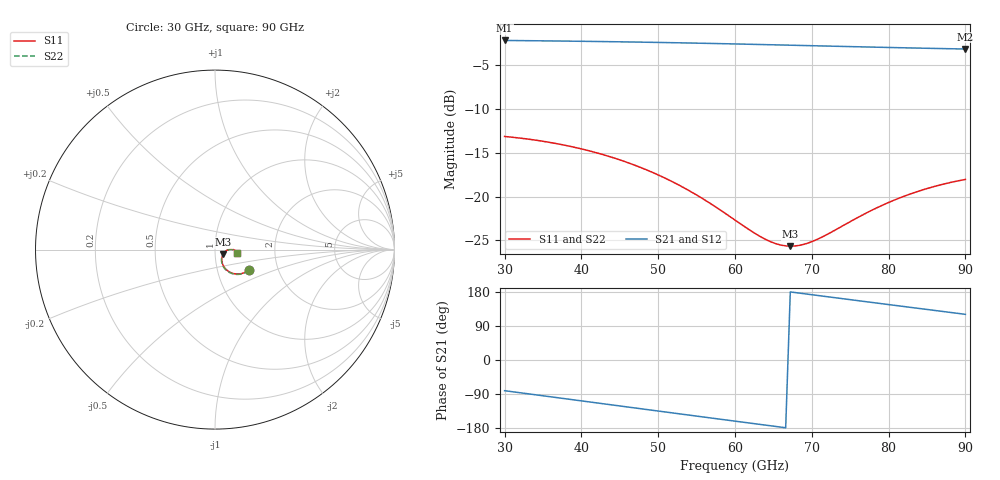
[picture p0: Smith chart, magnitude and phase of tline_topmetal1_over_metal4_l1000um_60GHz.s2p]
#  GHZ S DB R 50
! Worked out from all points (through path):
!   101 points, 30 GHz to 90 GHz, reference 50 ohm
!   highest |S21| = -2.24 dB at 30 GHz (marker M1); lowest = -3.2 dB at 90 GHz (marker M2)
!   group delay of S21, straight-line fit = 7.35 ps
!   lowest |S11| = -25.6 dB at 67.2 GHz (marker M3), VSWR 1.11, Z = 54.7 - j2.8 ohm
!   |S11| at or under -10 dB: start of sweep to end of sweep
!   |S22| runs from -25.8 to -13.1 dB; largest |S21 - S12| = 8.9e-14
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30  -13.17 -31.0  -2.24 -81.0  -2.24 -81.0  -13.14 -31.4
32.4  -13.39 -34.8  -2.26 -87.4  -2.26 -87.4  -13.36 -35.2
34.8  -13.69 -38.6  -2.29 -93.9  -2.29 -93.9  -13.64 -39.1
37.2  -14.05 -42.4  -2.31 -100.3  -2.31 -100.3  -14.01 -42.9
40.2  -14.62 -47.1  -2.34 -108.4  -2.34 -108.4  -14.57 -47.7
42.6  -15.18 -50.7  -2.37 -114.8  -2.37 -114.8  -15.12 -51.3
45  -15.83 -54.1  -2.40 -121.3  -2.40 -121.3  -15.76 -54.8
47.4  -16.59 -57.1  -2.43 -127.7  -2.43 -127.7  -16.52 -58.0
50.4  -17.70 -60.3  -2.47 -135.7  -2.47 -135.7  -17.63 -61.3
55.2  -19.93 -62.7  -2.55 -148.6  -2.55 -148.6  -19.85 -64.0
57.6  -21.25 -61.8  -2.60 -155.0  -2.60 -155.0  -21.18 -63.3
60  -22.68 -58.6  -2.64 -161.3  -2.64 -161.3  -22.63 -60.4
62.4  -24.08 -52.2  -2.69 -167.7  -2.69 -167.7  -24.07 -54.3
64.2  -24.97 -44.9  -2.72 -172.5  -2.72 -172.5  -25.01 -47.1
66  -25.53 -35.8  -2.76 -177.2  -2.76 -177.2  -25.62 -38.0
67.2  -25.65 -29.2  -2.78 179.6  -2.78 179.6  -25.78 -31.2
68.4  -25.55 -22.8  -2.81 176.5  -2.81 176.5  -25.71 -24.6
70.2  -25.07 -14.2  -2.84 171.8  -2.84 171.8  -25.23 -15.6
75  -22.86 -1.1  -2.94 159.3  -2.94 159.3  -22.97 -2.0
80.4  -20.53 1.0  -3.05 145.2  -3.05 145.2  -20.58 0.2
85.2  -19.04 -2.4  -3.14 132.9  -3.14 132.9  -19.05 -3.3
90  -18.06 -8.0  -3.22 120.5  -3.22 120.5  -18.03 -9.1
